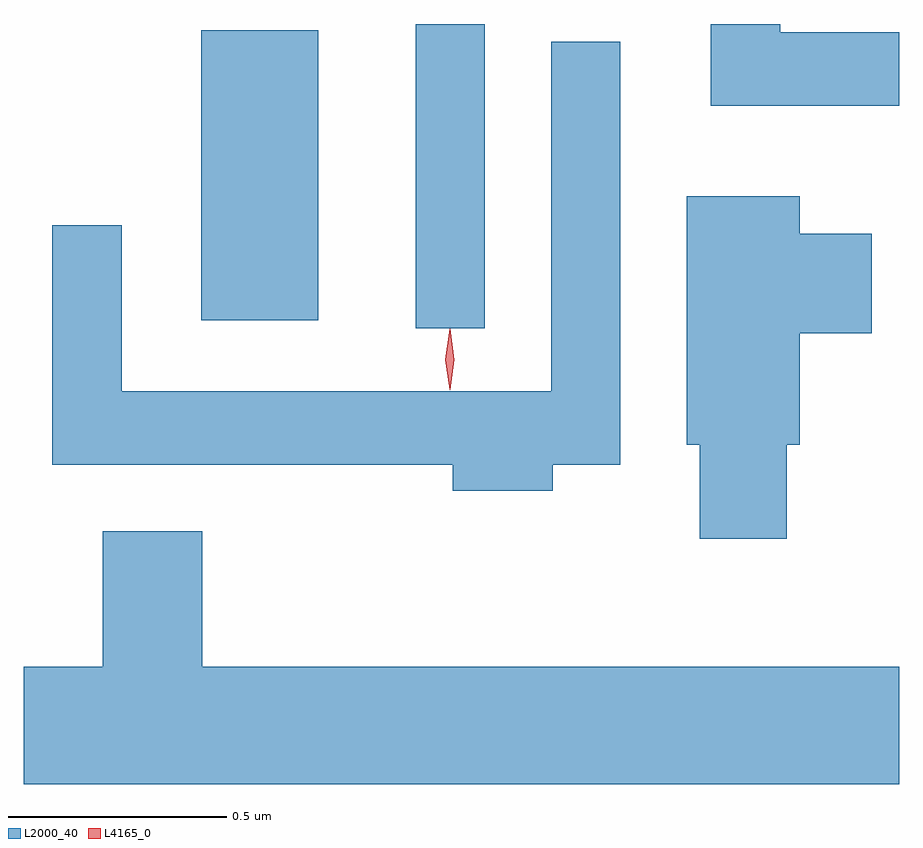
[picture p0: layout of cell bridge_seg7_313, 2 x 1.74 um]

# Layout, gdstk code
import gdstk
lib = gdstk.Library(unit=1e-6, precision=1e-09)
def R(c, l, rs):  # rectangles x0, y0, x1, y1
    for r in rs: c.add(gdstk.rectangle(r[:2], r[2:], *l))
def P(c, l, *ps):  # polygons
    for p in ps: c.add(gdstk.Polygon(p, *l))
L2000_40 = (2000, 40)
L4165_0 = (4165, 0)

bridge_seg7_313 = lib.new_cell('bridge_seg7_313')
R(bridge_seg7_313, L2000_40, [(1341.666,1788.618,1341.824,1789.313), (1341.176,1788.636,1341.444,1789.299)])
P(bridge_seg7_313, L2000_40, [(1342.771,1789.294),(1342.499,1789.294),(1342.499,1789.313),(1342.341,1789.313),(1342.341,1789.126),(1342.771,1789.126)],
  [(1341.979,1788.306),(1342.134,1788.306),(1342.134,1789.273),(1341.976,1789.273),(1341.976,1788.474),(1340.994,1788.474),(1340.994,1788.853),(1340.836,1788.853),(1340.836,1788.306),(1341.751,1788.306),(1341.751,1788.246),(1341.979,1788.246)],
  [(1342.514,1788.351),(1342.544,1788.351),(1342.544,1788.606),(1342.709,1788.606),(1342.709,1788.834),(1342.544,1788.834),(1342.544,1788.919),(1342.286,1788.919),(1342.286,1788.351),(1342.316,1788.351),(1342.316,1788.136),(1342.514,1788.136)],
  [(1342.771,1787.844),(1341.179,1787.844),(1341.179,1788.154),(1340.951,1788.154),(1340.951,1787.844),(1340.771,1787.844),(1340.771,1787.576),(1342.771,1787.576)])
P(bridge_seg7_313, L4165_0, [(1341.745,1788.479),(1341.744,1788.48),(1341.735,1788.546),(1341.744,1788.612),(1341.745,1788.613),(1341.745,1788.612),(1341.755,1788.546),(1341.745,1788.48)],
  [(1341.744,1788.477),(1341.744,1788.477),(1341.734,1788.546),(1341.744,1788.616),(1341.744,1788.616),(1341.745,1788.616),(1341.754,1788.546),(1341.745,1788.477)])

lib.write_gds('bridge_seg7_313.gds')
